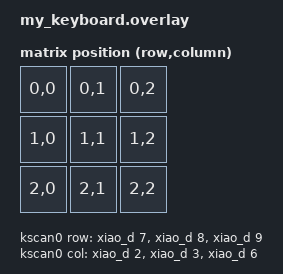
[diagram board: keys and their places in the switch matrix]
#include <dt-bindings/zmk/matrix_transform.h>
#include "my_keyboard-layouts.dtsi"

&physical_layout0 {
    kscan = <&kscan0>;
    transform = <&matrix_transform0>;
};

/ {
    // 選択したノードを、定義された「デフォルト」物理レイアウトに設��します。 
    chosen {
        zmk,kscan = &kscan0;
        zmk,physical-layout = &physical_layout0;
        // Other chosen items
    };

    kscan0: kscan0 {
        compatible = "zmk,kscan-gpio-matrix";
        diode-direction = "col2row";
        wakeup-source;

        col-gpios
            = <&xiao_d 2 GPIO_ACTIVE_HIGH>
            , <&xiao_d 3 GPIO_ACTIVE_HIGH>
            , <&xiao_d 6 GPIO_ACTIVE_HIGH>
            ;

        row-gpios
            = <&xiao_d 7 (GPIO_ACTIVE_HIGH | GPIO_PULL_DOWN)>
            , <&xiao_d 8 (GPIO_ACTIVE_HIGH | GPIO_PULL_DOWN)>
            , <&xiao_d 9 (GPIO_ACTIVE_HIGH | GPIO_PULL_DOWN)>
            ;
    };

    // マトリクス変換   
    matrix_transform0: keymap_transform0 {
        compatible = "zmk,matrix-transform";
        columns = <3>; // Length of the "col-gpios" array
        rows = <3>; // Length of the "row-gpios" array
        map = <
        //   Key 1 | Key 2 | Key 3
            RC(0,0) RC(0,1) RC(0,2)
        //   Key 4 | Key 5 | Key 6
            RC(1,0) RC(1,1) RC(1,2)
        //   Key 7 | Key 8 | Key 9
            RC(2,0) RC(2,1) RC(2,2)
        >;
    };
};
